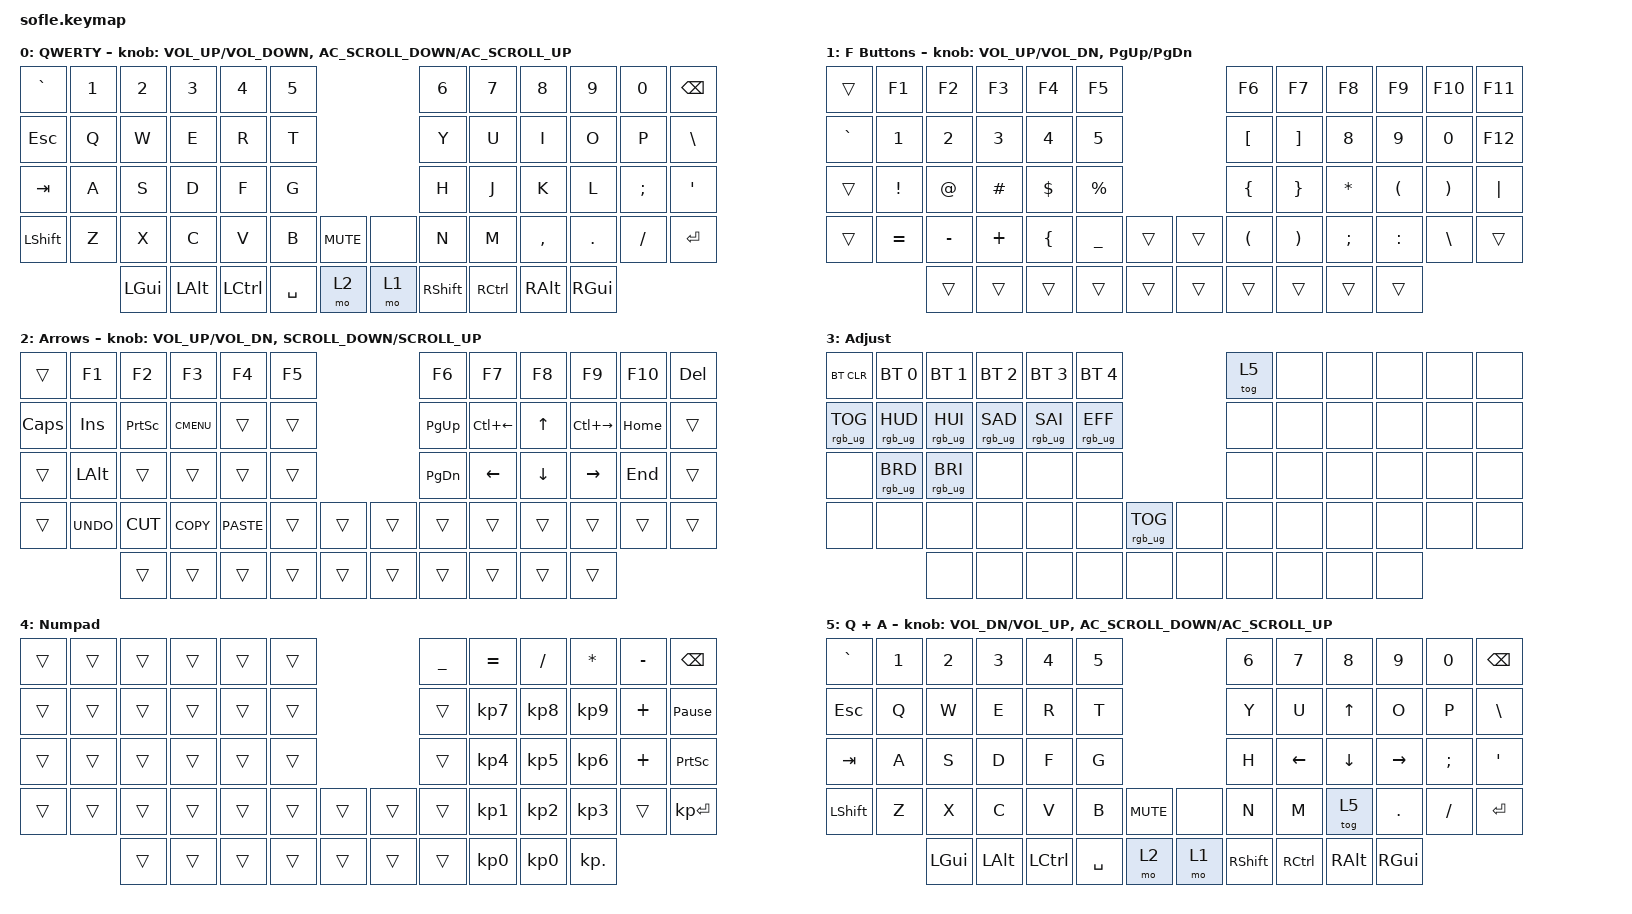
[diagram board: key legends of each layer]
/*
 * Copyright (c) 2020 The ZMK Contributors
 *
 * SPDX-License-Identifier: MIT
 */

#include <behaviors.dtsi>
#include <dt-bindings/zmk/bt.h>
#include <dt-bindings/zmk/keys.h>
#include <dt-bindings/zmk/rgb.h>

#define BASE 0
#define LOWER 1
#define RAISE 2
#define ADJUST 3

/ {
    // Activate ADJUST layer by pressing raise and lower

    conditional_layers {
        compatible = "zmk,conditional-layers";

        adjust_layer {
            if-layers = <LOWER RAISE>;
            then-layer = <ADJUST>;
        };

        adjust_layer_backup {
            if-layers = <1 2>;
            then-layer = <3>;
        };
    };

    combos {
        compatible = "zmk,combos";

        cmb_numpad {
            bindings = <&lt 4 LEFT_SHIFT>;
            key-positions = <54 36>;
            slow-release;
        };
    };

    behaviors {
        HoldToRepeat: HoldToRepeat {
            compatible = "zmk,behavior-hold-tap";
            label = "HOLDTOREPEAT";
            bindings = <&key_repeat>, <&kp>;

            #binding-cells = <2>;
            tapping-term-ms = <200>;
            flavor = "tap-preferred";
            quick-tap-ms = <200>;
        };
    };

    keymap {
        compatible = "zmk,keymap";

        default_layer {
            display-name = "QWERTY";

            // ------------------------------------------------------------------------------------------------------------
            // |   `   |  1  |  2  |  3   |  4   |  5   |                   |  6   |  7    |  8    |  9   |   0   |       |
            // |  ESC  |  Q  |  W  |  E   |  R   |  T   |                   |  Y   |  U    |  I    |  O   |   P   | BKSPC |
            // |  TAB  |  A  |  S  |  D   |  F   |  G   |                   |  H   |  J    |  K    |  L   |   ;   |   '   |
            // | SHIFT |  Z  |  X  |  C   |  V   |  B   |  MUTE  |  |       |  N   |  M    |  ,    |  .   |   /   | SHIFT |
            //               | GUI | ALT  | CTRL | LOWER|  ENTER |  | SPACE | RAISE| CTRL  | ALT   | GUI  |

            bindings = <
&kp GRAVE  &kp N1  &kp N2    &kp N3    &kp N4     &kp N5                          &kp N6           &kp N7     &kp N8     &kp N9    &kp N0    &kp BACKSPACE
&kp ESC    &kp Q   &kp W     &kp E     &kp R      &kp T                           &kp Y            &kp U      &kp I      &kp O     &kp P     &kp BACKSLASH
&kp TAB    &kp A   &kp S     &kp D     &kp F      &kp G                           &kp H            &kp J      &kp K      &kp L     &kp SEMI  &kp SQT
&kp LSHFT  &kp Z   &kp X     &kp C     &kp V      &kp B      &kp C_MUTE    &none  &kp N            &kp M      &kp COMMA  &kp DOT   &kp FSLH  &kp ENTER
                   &kp LGUI  &kp LALT  &kp LCTRL  &kp SPACE  &mo 2         &mo 1  &kp RIGHT_SHIFT  &kp RCTRL  &kp RALT   &kp RGUI
            >;

            sensor-bindings =
                <&inc_dec_kp C_VOLUME_UP C_VOLUME_DOWN>,
                <&inc_dec_kp C_AC_SCROLL_DOWN C_AC_SCROLL_UP>;
        };

        F_Buttons {
            display-name = "F Buttons";

            // TODO: Some binds are waiting for shifted keycode support.
            // ------------------------------------------------------------------------------------------------------------
            // |       |  F1 |  F2 |  F3  |  F4  |  F5  |                   |  F6  |  F7   |  F8   |  F9  |  F10  |  F11  |
            // |   `   |  1  |  2  |  3   |  4   |  5   |                   |  6   |  7    |  8    |  9   |   0   |  F12  |
            // |       |  !  |  @  |  #   |  $   |  %   |                   |  ^   |  &    |  *    |  (   |   )   |   |   |
            // |       |  =  |  -  |  +   |  {   |  }   |        |  |       |  [   |  ]    |  ;    |  :   |   \   |       |
            //               |     |      |      |      |        |  |       |      |       |       |      |

            bindings = <
&trans     &kp F1     &kp F2     &kp F3    &kp F4    &kp F5                            &kp F6                &kp F7                 &kp F8     &kp F9     &kp F10   &kp F11
&kp GRAVE  &kp N1     &kp N2     &kp N3    &kp N4    &kp N5                            &kp LEFT_BRACKET      &kp RIGHT_BRACKET      &kp N8     &kp N9     &kp N0    &kp F12
&trans     &kp EXCL   &kp AT     &kp HASH  &kp DLLR  &kp PRCNT                         &kp LEFT_BRACE        &kp RIGHT_BRACE        &kp ASTRK  &kp LPAR   &kp RPAR  &kp PIPE
&trans     &kp EQUAL  &kp MINUS  &kp PLUS  &kp LBRC  &kp UNDERSCORE  &trans    &trans  &kp LEFT_PARENTHESIS  &kp RIGHT_PARENTHESIS  &kp SEMI   &kp COLON  &kp BSLH  &trans
                      &trans     &trans    &trans    &trans          &trans    &trans  &trans                &trans                 &trans     &trans
            >;

            sensor-bindings = <&inc_dec_kp C_VOL_UP C_VOL_DN &inc_dec_kp PG_UP PG_DN>;
        };

        Arrows {
            display-name = "Arrows";

            // ------------------------------------------------------------------------------------------------------------
            // | BTCLR | BT1  | BT2  |  BT3  |  BT4  |  BT5 |                |      |      |       |      |       |       |
            // |       | INS  | PSCR | GUI   |       |      |                | PGUP |      |   ^   |      |       |       |
            // |       | ALT  | CTRL | SHIFT |       | CAPS |                | PGDN |   <- |   v   |  ->  |  DEL  | BKSPC |
            // |       | UNDO | CUT  | COPY  | PASTE |      |      |  |      |      |      |       |      |       |       |
            //                |      |       |       |      |      |  |      |      |      |       |      |

            bindings = <
&trans    &kp F1      &kp F2     &kp F3       &kp F4       &kp F5                    &kp F6     &kp F7              &kp F8    &kp F9         &kp F10   &kp DELETE
&kp CAPS  &kp INS     &kp PSCRN  &kp K_CMENU  &trans       &trans                    &kp PG_UP  &kp LC(LEFT_ARROW)  &kp UP    &kp LC(RIGHT)  &kp HOME  &trans
&trans    &kp LALT    &trans     &trans       &trans       &trans                    &kp PG_DN  &kp LEFT            &kp DOWN  &kp RIGHT      &kp END   &trans
&trans    &kp K_UNDO  &kp K_CUT  &kp K_COPY   &kp K_PASTE  &trans  &trans    &trans  &trans     &trans              &trans    &trans         &trans    &trans
                      &trans     &trans       &trans       &trans  &trans    &trans  &trans     &trans              &trans    &trans
            >;

            sensor-bindings =
                <&inc_dec_kp C_VOL_UP C_VOL_DN>,
                <&inc_dec_kp K_SCROLL_DOWN K_SCROLL_UP>;
        };

        adjust_layer {
            // ----------------------------------------------------------------------------------------------------------------------------
            // | BTCLR  |  BT1    |  BT2    |   BT3   |   BT4   |   BT5   |                  |      |      |       |      |       |       |
            // | EXTPWR | RGB_HUD | RGB_HUI | RGB_SAD | RGB_SAI | RGB_EFF |                  |      |      |       |      |       |       |
            // |        | RGB_BRD | RGB_BRI |         |         |         |                  |      |      |       |      |       |       |
            // |        |         |         |         |         |         | RGB_TOG | |      |      |      |       |      |       |       |
            //                    |         |         |         |         |         | |      |      |      |       |      |

            display-name = "Adjust";
            bindings = <
&bt BT_CLR       &bt BT_SEL 0     &bt BT_SEL 1     &bt BT_SEL 2     &bt BT_SEL 3     &bt BT_SEL 4                               &tog 5  &none  &none  &none  &none  &none
&rgb_ug RGB_TOG  &rgb_ug RGB_HUD  &rgb_ug RGB_HUI  &rgb_ug RGB_SAD  &rgb_ug RGB_SAI  &rgb_ug RGB_EFF                            &none   &none  &none  &none  &none  &none
&none            &rgb_ug RGB_BRD  &rgb_ug RGB_BRI  &none            &none            &none                                      &none   &none  &none  &none  &none  &none
&none            &none            &none            &none            &none            &none            &rgb_ug RGB_TOG    &none  &none   &none  &none  &none  &none  &none
                                  &none            &none            &none            &none            &none              &none  &none   &none  &none  &none
            >;
        };

        Numpad {
            bindings = <
&trans  &trans  &trans  &trans  &trans  &trans                    &kp UNDER  &kp EQUAL        &kp SLASH        &kp ASTERISK  &kp MINUS  &kp BACKSPACE
&trans  &trans  &trans  &trans  &trans  &trans                    &trans     &kp KP_NUMBER_7  &kp KP_NUMBER_8  &kp KP_N9     &kp PLUS   &kp PAUSE_BREAK
&trans  &trans  &trans  &trans  &trans  &trans                    &trans     &kp KP_N4        &kp KP_N5        &kp KP_N6     &kp PLUS   &kp PRINTSCREEN
&trans  &trans  &trans  &trans  &trans  &trans  &trans    &trans  &trans     &kp KP_NUMBER_1  &kp KP_N2        &kp KP_N3     &trans     &kp KP_ENTER
                &trans  &trans  &trans  &trans  &trans    &trans  &trans     &kp KP_N0        &kp KP_N0        &kp KP_DOT
            >;

            label = "Numpad";
        };

        Qwerty_Arrow {
            display-name = "Q + A";
            bindings = <
&kp GRAVE  &kp N1  &kp N2    &kp N3    &kp N4     &kp N5                          &kp N6           &kp N7     &kp N8        &kp N9     &kp N0    &kp BACKSPACE
&kp ESC    &kp Q   &kp W     &kp E     &kp R      &kp T                           &kp Y            &kp U      &kp UP_ARROW  &kp O      &kp P     &kp BACKSLASH
&kp TAB    &kp A   &kp S     &kp D     &kp F      &kp G                           &kp H            &kp LEFT   &kp DOWN      &kp RIGHT  &kp SEMI  &kp SQT
&kp LSHFT  &kp Z   &kp X     &kp C     &kp V      &kp B      &kp C_MUTE    &none  &kp N            &kp M      &tog 5        &kp DOT    &kp FSLH  &kp ENTER
                   &kp LGUI  &kp LALT  &kp LCTRL  &kp SPACE  &mo 2         &mo 1  &kp RIGHT_SHIFT  &kp RCTRL  &kp RALT      &kp RGUI
            >;

            sensor-bindings =
                <&inc_dec_kp C_VOL_DN C_VOL_UP>,
                <&inc_dec_kp C_AC_SCROLL_DOWN C_AC_SCROLL_UP>;
        };
    };
};
